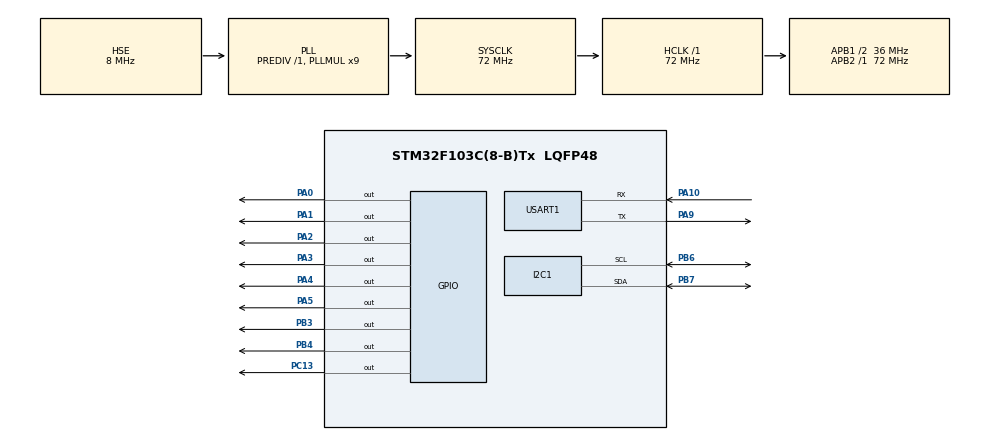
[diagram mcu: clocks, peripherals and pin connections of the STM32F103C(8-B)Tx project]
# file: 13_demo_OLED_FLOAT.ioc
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I2C1.I2C_Mode=I2C_Fast
Mcu.Family=STM32F1
Mcu.Name=STM32F103C(8-B)Tx
Mcu.Package=LQFP48
NVIC.PriorityGroup=NVIC_PRIORITYGROUP_4
PA0-WKUP.Signal=GPIO_Output
PA1.Signal=GPIO_Output
PA10.Mode=Asynchronous
PA10.Signal=USART1_RX
PA2.Signal=GPIO_Output
PA3.Signal=GPIO_Output
PA4.Signal=GPIO_Output
PA5.Signal=GPIO_Output
PA9.Mode=Asynchronous
PA9.Signal=USART1_TX
PB3.Signal=GPIO_Output
PB4.Signal=GPIO_Output
PB6.Mode=I2C
PB6.Signal=I2C1_SCL
PB7.Mode=I2C
PB7.Signal=I2C1_SDA
PC13-TAMPER-RTC.Signal=GPIO_Output
PC14-OSC32_IN.Mode=LSE-External-Oscillator
PC14-OSC32_IN.Signal=RCC_OSC32_IN
PC15-OSC32_OUT.Mode=LSE-External-Oscillator
PC15-OSC32_OUT.Signal=RCC_OSC32_OUT
PD0-OSC_IN.Mode=HSE-External-Oscillator
PD0-OSC_IN.Signal=RCC_OSC_IN
PD1-OSC_OUT.Mode=HSE-External-Oscillator
PD1-OSC_OUT.Signal=RCC_OSC_OUT
ProjectManager.HeapSize=0x200
ProjectManager.StackSize=0x400
ProjectManager.TargetToolchain=SW4STM32
RCC.AHBFreq_Value=72000000
RCC.APB1CLKDivider=RCC_HCLK_DIV2
RCC.APB1Freq_Value=36000000
RCC.APB1TimFreq_Value=72000000
RCC.APB2Freq_Value=72000000
RCC.APB2TimFreq_Value=72000000
RCC.HCLKFreq_Value=72000000
RCC.PLLMUL=RCC_PLL_MUL9
RCC.PLLSourceVirtual=RCC_PLLSOURCE_HSE
RCC.SYSCLKFreq_VALUE=72000000
RCC.SYSCLKSource=RCC_SYSCLKSOURCE_PLLCLK
RCC.USBFreq_Value=72000000
USART1.VirtualMode=VM_ASYNC
VP_SYS_VS_ND.Mode=No_Debug
board=custom

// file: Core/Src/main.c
/* USER CODE BEGIN Header */
/**
  ******************************************************************************
  * @file           : main.c
  * @brief          : Main program body
  ******************************************************************************
  * @attention
  *
  * Copyright (c) 2022 STMicroelectronics.
  * All rights reserved.
  *
  * This software is licensed under terms that can be found in the LICENSE file
  * in the root directory of this software component.
  * If no LICENSE file comes with this software, it is provided AS-IS.
  *
  ******************************************************************************
  */
/* USER CODE END Header */
#include "main.h"
#include "i2c.h"
#include "usart.h"
#include "gpio.h"

/* USER CODE BEGIN Includes */
#include "oled12864.h"
#include "mpu6050.h"
#include "DMP_test.h"
/* USER CODE END Includes */

void SystemClock_Config(void);

int main(void) {

    /* MCU Configuration--------------------------------------------------------*/

    /* Reset of all peripherals, Initializes the Flash interface and the Systick. */
    HAL_Init();

    /* Configure the system clock */
    SystemClock_Config();

    /* Initialize all configured peripherals */
    MX_GPIO_Init();
    MX_USART1_UART_Init();
    MX_I2C1_Init();
    /* USER CODE BEGIN 2 */
    OLED_Init();
    OLED_ShowString(0,0,"Loading...",sizeof ("Loading..."));
    HAL_Delay(1000);
    OLED_Clear();
    DMP_test();
    OLED_ShowString(0,0,"DMP_test over",12);
    HAL_Delay(1000);
    OLED_Clear();
    MPU6050_Get();
    OLED_ShowString(0,0,"MPU6050_Get over",12);
    HAL_Delay(1000);
    OLED_Clear();
    /* USER CODE END 2 */

    /* Infinite loop */
    while (1) {
        printf("ax:$%1.3f g,\tgx:$%f deg/s\r\n",(float)ax/(0xffff/4),(float)gx/(0xffff/500));
        printf("ay:$%1.3f g,\tgy:$%f deg/s\r\n",(float)ay/(0xffff/4),(float)gy/(0xffff/500));
        printf("az:$%1.3f g,\tgz:$%f deg/s\r\n",(float)az/(0xffff/4),(float)gz/(0xffff/500));
        printf("----------------------------------\r\n");
        /* USER CODE BEGIN 3 */
        HAL_Delay(500);
    }
    /* USER CODE END 3 */
}

void SystemClock_Config(void) {
    RCC_OscInitTypeDef RCC_OscInitStruct = {0};
    RCC_ClkInitTypeDef RCC_ClkInitStruct = {0};

    /** Initializes the RCC Oscillators according to the specified parameters
    * in the RCC_OscInitTypeDef structure.
    */
    RCC_OscInitStruct.OscillatorType = RCC_OSCILLATORTYPE_HSE;
    RCC_OscInitStruct.HSEState = RCC_HSE_ON;
    RCC_OscInitStruct.HSEPredivValue = RCC_HSE_PREDIV_DIV1;
    RCC_OscInitStruct.HSIState = RCC_HSI_ON;
    RCC_OscInitStruct.PLL.PLLState = RCC_PLL_ON;
    RCC_OscInitStruct.PLL.PLLSource = RCC_PLLSOURCE_HSE;
    RCC_OscInitStruct.PLL.PLLMUL = RCC_PLL_MUL9;
    if (HAL_RCC_OscConfig(&RCC_OscInitStruct) != HAL_OK) {
        Error_Handler();
    }

    /** Initializes the CPU, AHB and APB buses clocks
    */
    RCC_ClkInitStruct.ClockType = RCC_CLOCKTYPE_HCLK | RCC_CLOCKTYPE_SYSCLK
                                  | RCC_CLOCKTYPE_PCLK1 | RCC_CLOCKTYPE_PCLK2;
    RCC_ClkInitStruct.SYSCLKSource = RCC_SYSCLKSOURCE_PLLCLK;
    RCC_ClkInitStruct.AHBCLKDivider = RCC_SYSCLK_DIV1;
    RCC_ClkInitStruct.APB1CLKDivider = RCC_HCLK_DIV2;
    RCC_ClkInitStruct.APB2CLKDivider = RCC_HCLK_DIV1;

    if (HAL_RCC_ClockConfig(&RCC_ClkInitStruct, FLASH_LATENCY_2) != HAL_OK) {
        Error_Handler();
    }
}

void Error_Handler(void) {
    __disable_irq();
    while (1) {
    }
}
